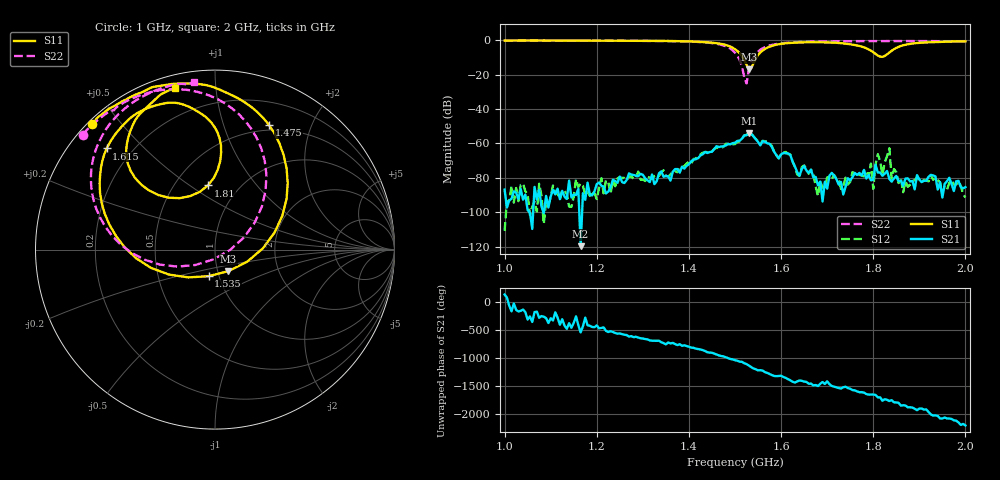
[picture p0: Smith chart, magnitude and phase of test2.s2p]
# Hz S MA R 50
! CMT, C1220, 16058040, 17.2.0/1
! Date: 14/08/2018 11:30:23
! Data: Format (Calibration Info)
! Freq  S11: Mag/Ang (F2)  S21: Mag/Ang (F2)  S12: Mag/Ang (F2)  S22: Mag/Ang (F2)
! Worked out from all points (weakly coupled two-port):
!   201 points, 1 GHz to 2 GHz, reference 50 ohm
!   highest |S21| = -54.04 dB at 1.53 GHz (marker M1); lowest = -119.8 dB at 1.165 GHz (marker M2)
!   lowest |S11| = -17.0 dB at 1.53 GHz (marker M3), VSWR 1.33, Z = 56.3 - j13.8 ohm
!   |S11| at or under -10 dB: 1.517 GHz to 1.547 GHz (29.98 MHz wide, 1.96 % of centre)
!   |S22| runs from -25.1 to -0.2 dB; largest |S21 - S12| = 0.00064
!   S11 on the Smith chart (normalised r, x): 1 GHz: 0.01, +0.42; 1.475 GHz: 0.44, +1.43; 1.535 GHz: 0.89, -0.27; 1.615 GHz: 0.11, +0.39; 1.81 GHz: 0.72, +0.59; 2 GHz: 0.06, +0.78
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1e9  0.9787 134.5  4.534e-05 126.2  2.875e-06 41.5  0.9776 139.0
1.165e9  0.9754 123.4  1.026e-06 170.7  6.895e-05 -76.2  0.9703 128.4
1.17e9  0.9751 122.9  3.555e-05 -80.0  5.84e-05 -27.3  0.9693 128.0
1.335e9  0.9587 107.1  0.0001346 22.1  0.000113 7.0  0.9503 113.4
1.475e9  0.757 66.6  0.0008259 102.4  0.0007907 100.2  0.703 73.3
1.5e9  0.5496 42.5  0.001041 33.8  0.0009503 35.9  0.4343 49.5
1.525e9  0.1912 -20.8  0.001735 -35.9  0.001768 -36.4  0.05531 -99.2
1.53e9  0.1415 -58.2  0.001986 -60.1  0.002013 -59.6  0.1388 -141.9
1.535e9  0.1522 -103.6  0.001941 -88.5  0.001967 -88.9  0.2307 -155.7
1.57e9  0.6042 166.7  0.001012 167.4  0.001119 168.4  0.6665 164.3
1.615e9  0.8257 137.0  0.0005154 55.5  0.0004873 54.6  0.8495 142.8
1.635e9  0.8553 128.9  0.0001466 16.5  0.0001244 12.8  0.8815 137.2
1.67e9  0.8752 118.0  0.0001026 -56.1  0.0001316 -46.4  0.9126 130.1
1.79e9  0.5409 86.4  0.0001216 139.9  0.0001097 131.9  0.9441 115.0
1.795e9  0.4961 86.6  8.428e-05 141.4  0.0002591 135.3  0.9445 114.5
1.8e9  0.4485 87.9  8.895e-05 141.0  4.768e-05 97.0  0.9449 114.0
1.805e9  0.4009 90.8  0.000241 134.0  0.000245 -159.2  0.9453 113.6
1.81e9  0.3597 96.3  0.000142 90.7  0.0004839 87.9  0.9455 113.1
1.82e9  0.3284 114.8  0.0001147 30.4  0.0001218 118.4  0.946 112.2
1.835e9  0.4392 136.1  9.219e-05 24.8  0.000723 43.3  0.9469 110.8
1.84e9  0.4948 138.2  7.746e-05 40.3  9.331e-05 2.0  0.9468 110.4
2e9  0.9284 103.9  5.33e-05 -51.0  2.668e-05 -4.4  0.9407 97.2
